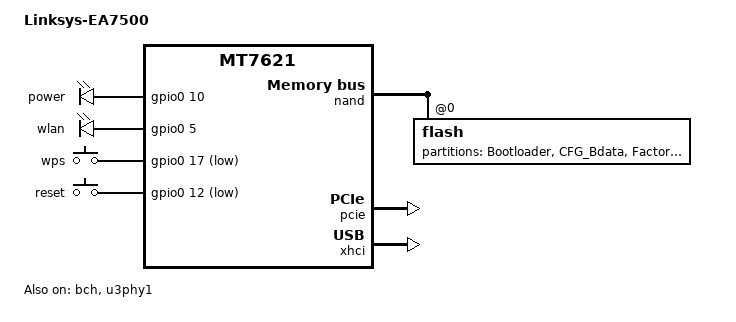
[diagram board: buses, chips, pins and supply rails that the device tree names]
/dts-v1/;

#include "mt7621.dtsi"
#include <dt-bindings/input/input.h>
#include "mt7621-raeth-gmac2.dtsi"
#include "mt7621-pinctrl-default-gpio.dtsi"

/ {
	compatible = "mediatek,mt7621-soc";
	model = "Linksys-EA7500";

	chosen {
		bootargs = "console=ttyS0,115200";
	};

	leds {
		compatible = "gpio-leds";

		power {
			label = "power";
			gpios = <&gpio0 10 GPIO_ACTIVE_HIGH>;
		};

		wlan {
			label = "wlan";
			gpios = <&gpio0 5 GPIO_ACTIVE_HIGH>;
		};
	};

	gpio-keys-polled {
		compatible = "gpio-keys-polled";
		#address-cells = <1>;
		#size-cells = <0>;
		poll-interval = <20>;

    	        wps {
			label = "wps";
			gpios = <&gpio0 17 GPIO_ACTIVE_LOW>;
			linux,code = <KEY_WPS_BUTTON>;
		};

		reset {
			label = "reset";
			gpios = <&gpio0 12 GPIO_ACTIVE_LOW>;
			linux,code = <KEY_RESTART>;
		};
	};
};

&bch {
	status = "okay";
};

&nand {
	status = "okay";

	flash@0 {
		reg = <0>;
		nand-ecc-mode = "hw";
		partitions {
			compatible = "fixed-partitions";
			#address-cells = <1>;
			#size-cells = <1>;

			partition@0 {
				label = "Bootloader";
				reg = <0x00000 0x80000>; /* 512k */
			};

			partition@80000 {
				label = "CFG_Bdata";
				reg = <0x80000 0x80000>; /* 512k */
			};

			partition@100000 {
				label = "Factory";
				reg = <0x100000 0x80000>; /* 512k */
			};

			partition@180000 {
				label = "Crash";
				reg = <0x180000 0x80000>; /* 512k */
			};

			partition@200000 {
				label = "firmware";
				reg = <0x200000 0x2000000>; /* 32M */
			};

			partition@2200000 {
				label = "Config";
				reg = <0x2200000 0x80000>; /* 512K */
			};

			partition@2280000 {
				label = "Storage";
				reg = <0x2280000 0x400000>; /* 4096K */
			};

			partition@2680000 {
				label = "RWFS";
				reg = <0x2680000 0x5900000>;
			};

			partition@all {
				label = "ALL";
				reg = <0x0 0x7f80000>;
			};
		};
	};
};

&pcie {
	status = "okay";
};

&xhci {
	status = "okay";
};

&u3phy1 {
	status = "okay";
};
